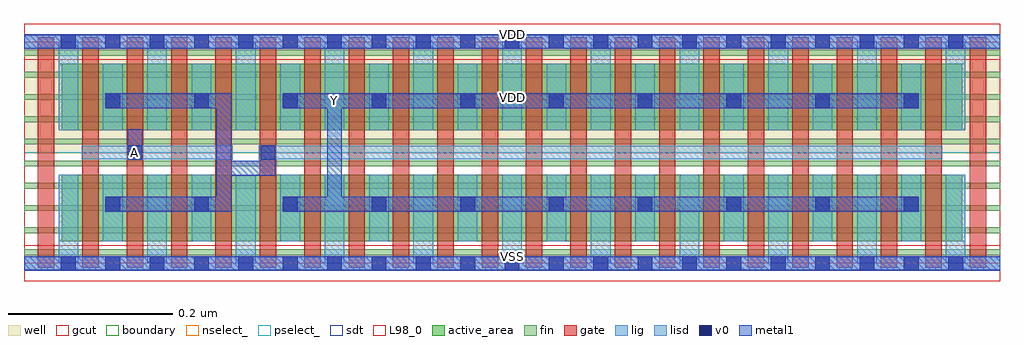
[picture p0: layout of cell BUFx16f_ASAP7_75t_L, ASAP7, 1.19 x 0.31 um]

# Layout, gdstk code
import gdstk
lib = gdstk.Library(unit=1e-6, precision=2.5e-10)
def R(c, l, rs):  # rectangles x0, y0, x1, y1
    for r in rs: c.add(gdstk.rectangle(r[:2], r[2:], *l))
def A(c, l, x, y, w, h, nx, ny, dx, dy):  # array of equal rectangles
    R(c, l, [(x+i*dx, y+j*dy, x+i*dx+w, y+j*dy+h) for i in range(nx) for j in range(ny)])
def P(c, l, *ps):  # polygons
    for p in ps: c.add(gdstk.Polygon(p, *l))
well = (1, 0)
fin = (2, 0)
gate = (7, 0)
gcut = (10, 0)
active_area = (11, 0)
nselect_ = (12, 0)
pselect_ = (13, 0)
lig = (16, 0)
lisd = (17, 0)
v0 = (18, 0)
metal1 = (19, 0)
sdt = (88, 0)
L98_0 = (98, 0)
boundary = (100, 0)

bufx16f_asap7_75t_l = lib.new_cell('BUFx16f_ASAP7_75t_L')
R(bufx16f_asap7_75t_l, well, [(0,0.135,1.188,0.27)])
A(bufx16f_asap7_75t_l, fin, 0, 0.01, 1.188, 0.007, 1, 10, 0, 0.027)
A(bufx16f_asap7_75t_l, gate, 0.017, -0.005, 0.02, 0.28, 22, 1, 0.054, 0)
R(bufx16f_asap7_75t_l, gcut, [(0,-0.022,1.188,0.022), (0,0.248,1.188,0.292)])
R(bufx16f_asap7_75t_l, active_area, [(0.046,0.027,1.142,0.108), (0.046,0.162,1.142,0.243)])
R(bufx16f_asap7_75t_l, nselect_, [(0,0,1.188,0.135)])
R(bufx16f_asap7_75t_l, pselect_, [(0,0.135,1.188,0.27)])
R(bufx16f_asap7_75t_l, lig, [(0,-0.008,1.188,0.008), (0.232,0.126,0.254,0.144), (0.286,0.126,0.308,0.144), (0.07,0.127,0.254,0.143), (0.286,0.127,1.118,0.143), (0,0.262,1.188,0.278)])
A(bufx16f_asap7_75t_l, lisd, 0.096, 0.027, 0.024, 0.081, 10, 2, 0.108, 0.135)
R(bufx16f_asap7_75t_l, lisd, [(0.042,0,0.066,0.108), (0.042,0,0.066,0.108), (0.15,0,0.174,0.108), (0.15,0,0.174,0.108), (0.258,0,0.282,0.108), (0.258,0,0.282,0.108), (0.366,0,0.39,0.108), (0.366,0,0.39,0.108), (0.474,0,0.498,0.108), (0.474,0,0.498,0.108), (0.582,0,0.606,0.108), (0.582,0,0.606,0.108), (0.69,0,0.714,0.108), (0.69,0,0.714,0.108), (0.798,0,0.822,0.108), (0.798,0,0.822,0.108), (0.906,0,0.93,0.108), (0.906,0,0.93,0.108), (1.014,0,1.038,0.108), (1.014,0,1.038,0.108), (1.122,0,1.146,0.108), (1.122,0,1.146,0.108), (0.042,0.162,0.066,0.27), (0.042,0.162,0.066,0.27), (0.15,0.162,0.174,0.27), (0.15,0.162,0.174,0.27), (0.258,0.162,0.282,0.27), (0.258,0.162,0.282,0.27), (0.366,0.162,0.39,0.27), (0.366,0.162,0.39,0.27), (0.474,0.162,0.498,0.27), (0.474,0.162,0.498,0.27), (0.582,0.162,0.606,0.27), (0.582,0.162,0.606,0.27), (0.69,0.162,0.714,0.27), (0.69,0.162,0.714,0.27), (0.798,0.162,0.822,0.27), (0.798,0.162,0.822,0.27), (0.906,0.162,0.93,0.27), (0.906,0.162,0.93,0.27), (1.014,0.162,1.038,0.27), (1.014,0.162,1.038,0.27), (1.122,0.162,1.146,0.27), (1.122,0.162,1.146,0.27)])
A(bufx16f_asap7_75t_l, v0, 0.045, -0.009, 0.018, 0.018, 21, 2, 0.054, 0.27)
A(bufx16f_asap7_75t_l, v0, 0.099, 0.063, 0.018, 0.018, 10, 2, 0.108, 0.126)
R(bufx16f_asap7_75t_l, v0, [(0.126,0.126,0.144,0.144), (0.288,0.126,0.306,0.144)])
A(bufx16f_asap7_75t_l, metal1, 0.099, 0.063, 0.018, 0.018, 10, 2, 0.108, 0.126)
R(bufx16f_asap7_75t_l, metal1, [(0,-0.009,1.188,0.009), (0.126,0.126,0.144,0.144), (0.126,0.126,0.144,0.163), (0.288,0.126,0.306,0.144), (0,0.261,1.188,0.279)])
P(bufx16f_asap7_75t_l, metal1, [(0.306,0.144),(0.288,0.144),(0.288,0.125),(0.252,0.125),(0.252,0.207),(0.099,0.207),(0.099,0.189),(0.234,0.189),(0.234,0.081),(0.099,0.081),(0.099,0.063),(0.252,0.063),(0.252,0.107),(0.306,0.107)],
  [(1.089,0.207),(0.315,0.207),(0.315,0.189),(0.369,0.189),(0.369,0.081),(0.315,0.081),(0.315,0.063),(1.089,0.063),(1.089,0.081),(0.387,0.081),(0.387,0.189),(1.089,0.189)])
A(bufx16f_asap7_75t_l, sdt, 0.042, 0.027, 0.024, 0.081, 3, 2, 0.054, 0.135)
A(bufx16f_asap7_75t_l, sdt, 0.15, 0.027, 0.024, 0.081, 3, 2, 0.054, 0.135)
A(bufx16f_asap7_75t_l, sdt, 0.258, 0.027, 0.024, 0.081, 3, 2, 0.054, 0.135)
A(bufx16f_asap7_75t_l, sdt, 0.366, 0.027, 0.024, 0.081, 3, 2, 0.054, 0.135)
A(bufx16f_asap7_75t_l, sdt, 0.474, 0.027, 0.024, 0.081, 3, 2, 0.054, 0.135)
A(bufx16f_asap7_75t_l, sdt, 0.582, 0.027, 0.024, 0.081, 3, 2, 0.054, 0.135)
A(bufx16f_asap7_75t_l, sdt, 0.69, 0.027, 0.024, 0.081, 3, 2, 0.054, 0.135)
A(bufx16f_asap7_75t_l, sdt, 0.798, 0.027, 0.024, 0.081, 3, 2, 0.054, 0.135)
A(bufx16f_asap7_75t_l, sdt, 0.906, 0.027, 0.024, 0.081, 3, 2, 0.054, 0.135)
A(bufx16f_asap7_75t_l, sdt, 1.014, 0.027, 0.024, 0.081, 3, 2, 0.054, 0.135)
R(bufx16f_asap7_75t_l, sdt, [(0.042,0.027,0.066,0.108), (1.122,0.027,1.146,0.108), (0.042,0.162,0.066,0.243), (1.122,0.162,1.146,0.243)])
R(bufx16f_asap7_75t_l, L98_0, [(0,0,1.188,0.27)])
R(bufx16f_asap7_75t_l, boundary, [(0,0,1.188,0.27)])
bufx16f_asap7_75t_l.add(gdstk.Label('VDD', (0.594,0.2025), layer=1, texttype=251))
bufx16f_asap7_75t_l.add(gdstk.Label('VSS', (0.594,-0.0675), layer=3, texttype=251))
bufx16f_asap7_75t_l.add(gdstk.Label('VSS', (0.594,0.009), layer=19, texttype=251))
bufx16f_asap7_75t_l.add(gdstk.Label('VDD', (0.594,0.279), layer=19, texttype=251))
bufx16f_asap7_75t_l.add(gdstk.Label('A', (0.135,0.135), layer=19, texttype=251))
bufx16f_asap7_75t_l.add(gdstk.Label('Y', (0.378,0.198), layer=19, texttype=251))

lib.write_gds('BUFx16f_ASAP7_75t_L.gds')
